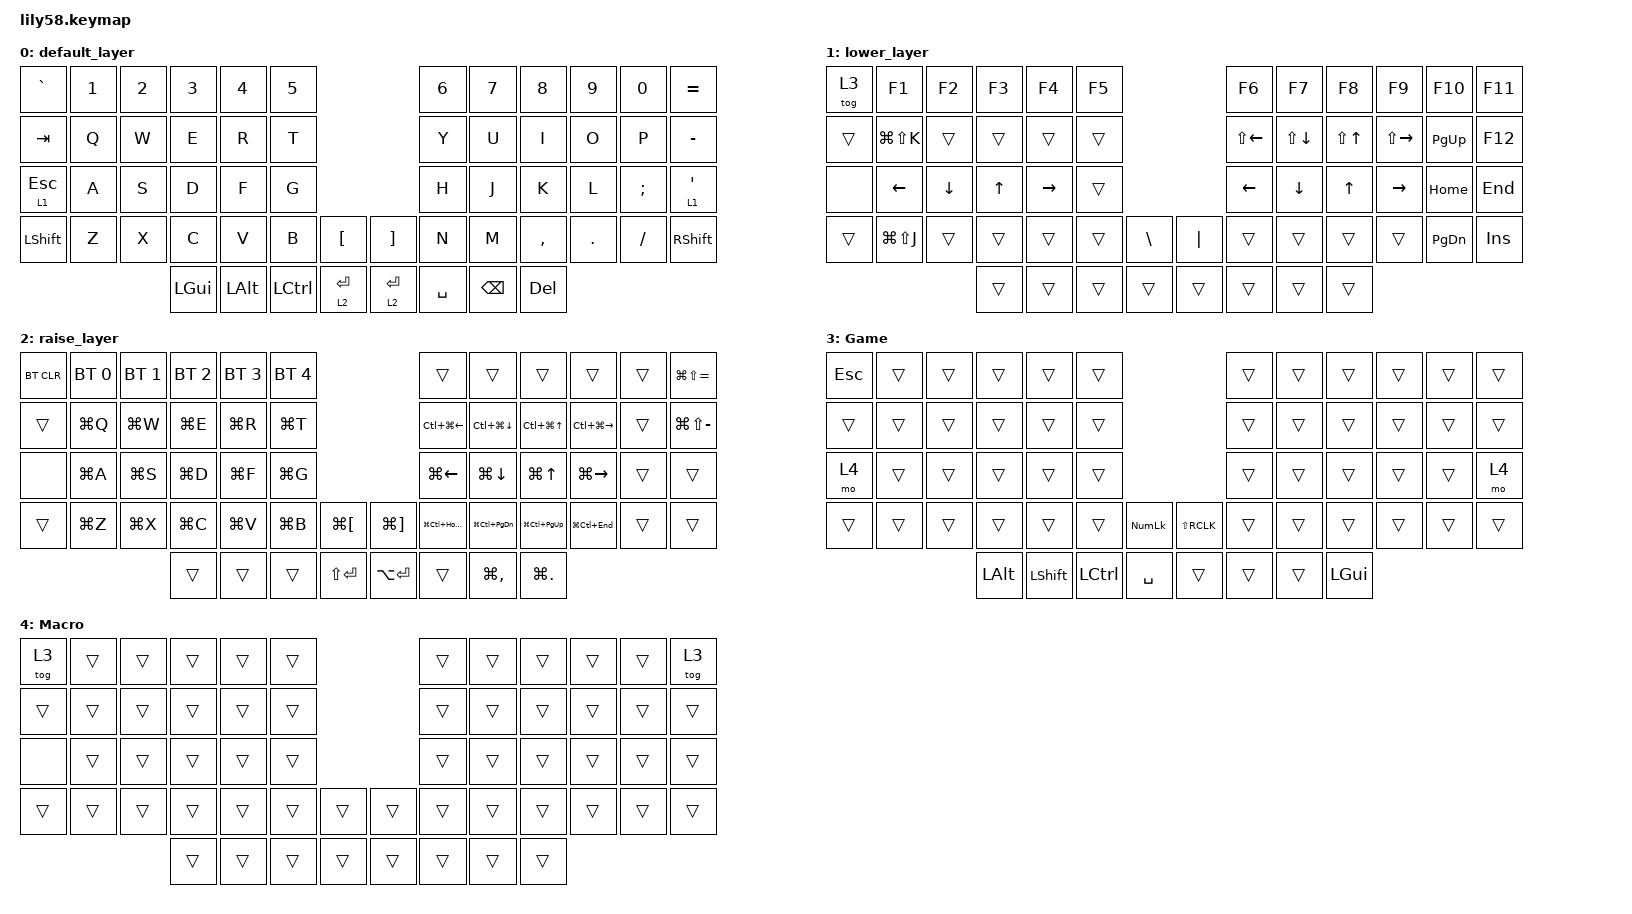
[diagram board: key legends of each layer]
/*
 * Copyright (c) 2020 The ZMK Contributors
 *
 * SPDX-License-Identifier: MIT
 */

#include <behaviors.dtsi>
#include <dt-bindings/zmk/bt.h>
#include <dt-bindings/zmk/keys.h>
#include <dt-bindings/zmk/pointing.h>

/ {
    keymap {
        compatible = "zmk,keymap";

        default_layer {
            bindings = <
&kp GRAVE  &kp N1  &kp N2  &kp N3    &kp N4    &kp N5                             &kp N6     &kp N7    &kp N8      &kp N9   &kp N0    &kp EQUAL
&kp TAB    &kp Q   &kp W   &kp E     &kp R     &kp T                              &kp Y      &kp U     &kp I       &kp O    &kp P     &kp MINUS
&lt 1 ESC  &kp A   &kp S   &kp D     &kp F     &kp G                              &kp H      &kp J     &kp K       &kp L    &kp SEMI  &lt 1 SQT
&kp LSHFT  &kp Z   &kp X   &kp C     &kp V     &kp B      &kp LBKT     &kp RBKT   &kp N      &kp M     &kp COMMA   &kp DOT  &kp FSLH  &kp RSHFT
                           &kp LGUI  &kp LALT  &kp LCTRL  &lt 2 RET    &lt 2 RET  &kp SPACE  &kp BSPC  &kp DELETE
            >;
        };

        lower_layer {
            bindings = <
&tog 3  &kp F1         &kp F2    &kp F3  &kp F4     &kp F5                             &kp F6        &kp F7        &kp F8      &kp F9         &kp F10    &kp F11
&trans  &kp LG(LS(K))  &trans    &trans  &trans     &trans                             &kp LS(LEFT)  &kp LS(DOWN)  &kp LS(UP)  &kp LS(RIGHT)  &kp PG_UP  &kp F12
&none   &kp LEFT       &kp DOWN  &kp UP  &kp RIGHT  &trans                             &kp LEFT      &kp DOWN      &kp UP      &kp RIGHT      &kp HOME   &kp END
&trans  &kp LG(LS(J))  &trans    &trans  &trans     &trans  &kp BACKSLASH    &kp PIPE  &trans        &trans        &trans      &trans         &kp PG_DN  &kp INS
                                 &trans  &trans     &trans  &trans           &trans    &trans        &trans        &trans
            >;
        };

        raise_layer {
            bindings = <
&bt BT_CLR  &bt BT_SEL 0  &bt BT_SEL 1  &bt BT_SEL 2  &bt BT_SEL 3  &bt BT_SEL 4                                &trans            &trans             &trans             &trans             &trans  &kp LG(LS(EQUAL))
&trans      &kp LG(Q)     &kp LG(W)     &kp LG(E)     &kp LG(R)     &kp LG(T)                                   &kp LC(LG(LEFT))  &kp LC(LG(DOWN))   &kp LC(LG(UP))     &kp LC(LG(RIGHT))  &trans  &kp LG(LS(MINUS))
&none       &kp LG(A)     &kp LG(S)     &kp LG(D)     &kp LG(F)     &kp LG(G)                                   &kp LG(LEFT)      &kp LG(DOWN)       &kp LG(UP)         &kp LG(RIGHT)      &trans  &trans
&trans      &kp LG(Z)     &kp LG(X)     &kp LG(C)     &kp LG(V)     &kp LG(B)     &kp LG(LBKT)    &kp LG(RBKT)  &kp LG(LC(HOME))  &kp LG(LC(PG_DN))  &kp LG(LC(PG_UP))  &kp LG(LC(END))    &trans  &trans
                                        &trans        &trans        &trans        &kp LS(RET)     &kp LA(RET)   &trans            &kp LG(COMMA)      &kp LG(PERIOD)
            >;
        };

        Game {
            bindings = <
&kp ESC  &trans  &trans  &trans    &trans      &trans                                     &trans  &trans  &trans        &trans  &trans  &trans
&trans   &trans  &trans  &trans    &trans      &trans                                     &trans  &trans  &trans        &trans  &trans  &trans
&mo 4    &trans  &trans  &trans    &trans      &trans                                     &trans  &trans  &trans        &trans  &trans  &mo 4
&trans   &trans  &trans  &trans    &trans      &trans     &kp KP_NUMLOCK    &kp LS(RCLK)  &trans  &trans  &trans        &trans  &trans  &trans
                         &kp LALT  &kp LSHIFT  &kp LCTRL  &kp SPACE         &trans        &trans  &trans  &kp LEFT_GUI
            >;
        };

        Macro {
            bindings = <
&tog 3  &trans  &trans  &trans  &trans  &trans                    &trans  &trans  &trans  &trans  &trans  &tog 3
&trans  &trans  &trans  &trans  &trans  &trans                    &trans  &trans  &trans  &trans  &trans  &trans
&none   &trans  &trans  &trans  &trans  &trans                    &trans  &trans  &trans  &trans  &trans  &trans
&trans  &trans  &trans  &trans  &trans  &trans  &trans    &trans  &trans  &trans  &trans  &trans  &trans  &trans
                        &trans  &trans  &trans  &trans    &trans  &trans  &trans  &trans
            >;
        };
    };
};
